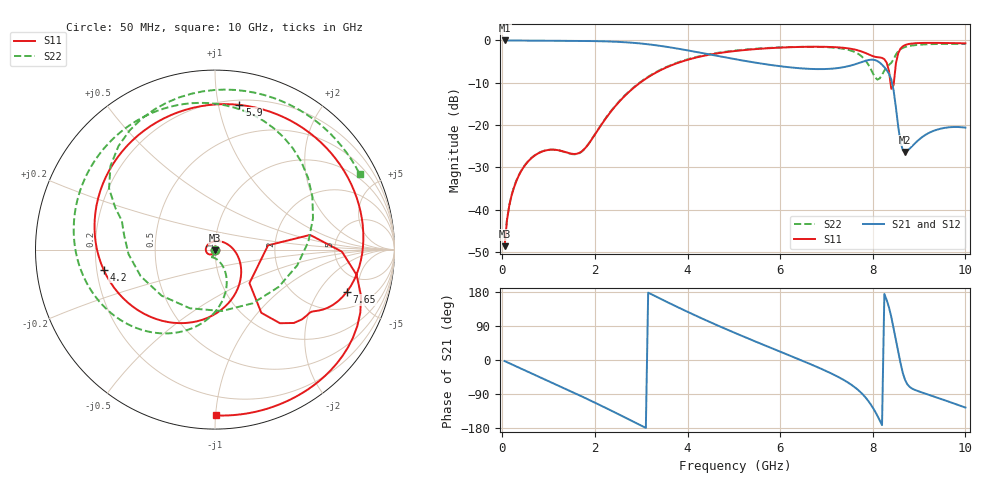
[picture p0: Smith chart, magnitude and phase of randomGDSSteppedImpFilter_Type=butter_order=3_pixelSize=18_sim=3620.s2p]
! freq	dB(S11)	phase(S11)	dB(S12)	phase(S12)
!  dB(S21)	phase(S21)	dB(S22)	phase(S22)
!S-par simulation data
#  GHz  S  DB  R 50
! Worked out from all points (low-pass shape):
!   200 points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, 50 MHz to 10 GHz, reference 50 ohm
!   highest |S21| = -0.01 dB at 50 MHz (marker M1); lowest = -26.3 dB at 8.7 GHz (marker M2)
!   |S21| within 3 dB of the highest: start of sweep to 4.326 GHz
!   lowest |S11| = -48.6 dB at 50 MHz (marker M3), VSWR 1.01, Z = 50 - j0.371 ohm
!   |S11| at or under -10 dB: start of sweep to 2.976 GHz; 8.383 GHz to 8.455 GHz (72.45 MHz wide, 0.861 % of centre)
!   |S22| runs from -48.6 to -0.8 dB; largest |S21 - S12| = 0
!   S11 on the Smith chart (normalised r, x): 50 MHz: 1.00, -0.01; 4.2 GHz: 0.23, -0.08; 5.9 GHz: 0.24, +1.15; 7.65 GHz: 3.23, -3.75; 10 GHz: 0.08, -1.00
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0.05  -48.61 -87.8  -0.01 -2.8  -0.01 -2.8  -48.56 -85.7
0.2  -36.66 -103.0  -0.02 -11.2  -0.02 -11.2  -36.56 -95.7
0.5  -29.35 -127.9  -0.04 -27.8  -0.04 -27.8  -29.28 -107.7
1.15  -25.85 172.4  -0.09 -64.0  -0.09 -64.0  -25.85 -122.1
1.75  -25.90 68.6  -0.13 -98.0  -0.13 -98.0  -25.94 -85.7
2.65  -13.05 -50.8  -0.43 -151.6  -0.43 -151.6  -12.95 -73.9
3.4  -7.13 -111.7  -1.27 162.5  -1.27 162.5  -7.01 -104.6
4.2  -4.00 -169.8  -2.75 115.8  -2.75 115.8  -3.88 -139.5
5.05  -2.47 133.4  -4.48 70.1  -4.48 70.1  -2.36 -173.7
5.9  -1.75 80.4  -5.95 27.0  -5.95 27.0  -1.69 153.7
6.7  -1.49 34.0  -6.75 -13.3  -6.75 -13.3  -1.51 120.0
7.3  -1.68 1.1  -6.45 -47.7  -6.45 -47.7  -1.88 85.9
7.65  -2.25 -17.7  -5.53 -75.7  -5.53 -75.7  -2.95 52.5
7.9  -3.25 -29.1  -4.65 -107.6  -4.65 -107.6  -5.64 4.9
8.1  -3.97 -33.9  -4.87 -147.2  -4.87 -147.2  -9.26 -83.6
8.35  -7.20 -53.8  -7.86 138.8  -7.86 138.8  -5.78 170.6
8.4  -11.44 -44.2  -9.25 113.6  -9.25 113.6  -5.30 162.8
8.5  -5.41 8.8  -15.86 51.5  -15.86 51.5  -3.33 150.0
8.6  -1.92 -10.1  -24.10 -8.6  -24.10 -8.6  -2.06 133.0
8.7  -1.09 -23.4  -26.32 -53.5  -26.32 -53.5  -1.55 119.1
9.2  -0.58 -56.4  -21.93 -91.3  -21.93 -91.3  -0.90 75.8
10  -0.68 -89.6  -20.61 -125.4  -20.61 -125.4  -0.83 27.6
